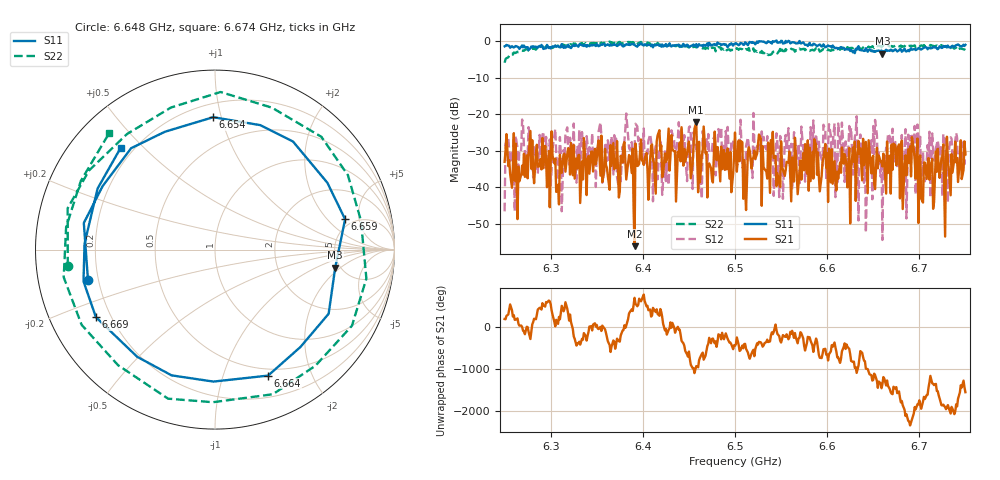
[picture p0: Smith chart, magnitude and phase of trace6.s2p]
# Hz S RI R 50
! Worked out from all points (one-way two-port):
!   401 points, 6.25 GHz to 6.75 GHz, reference 50 ohm
!   highest |S21| = -22.24 dB at 6.458 GHz (marker M1); lowest = -56.1 dB at 6.391 GHz (marker M2)
!   lowest |S11| = -3.4 dB at 6.66 GHz (marker M3), VSWR 5.20, Z = 227 - j84.6 ohm
!   |S11| at or under -10 dB: nowhere
!   |S22| runs from -5.9 to 0.0 dB; largest |S21 - S12| = 0.13
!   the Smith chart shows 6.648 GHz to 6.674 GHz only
!   S11 on the Smith chart (normalised r, x): 6.648 GHz: 0.16, -0.11; 6.654 GHz: 0.29, +0.94; 6.659 GHz: 4.28, +3.24; 6.664 GHz: 0.42, -1.42; 6.669 GHz: 0.14, -0.26; 6.674 GHz: 0.15, +0.43
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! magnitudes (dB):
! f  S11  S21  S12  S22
! 6.25 GHz  -1.4  -33.0  -46.6  -5.9
! 6.269 GHz  -1.2  -34.0  -21.4  -2.7
! 6.31 GHz  -1.7  -31.1  -26.2  -1.2
! 6.334 GHz  -1.2  -32.9  -24.9  -0.5
! 6.391 GHz  -1.0  -56.1  -29.8  -0.9
! 6.418 GHz  -1.3  -24.4  -29.0  -1.0
! 6.458 GHz  -0.8  -22.2  -29.7  -1.7
! 6.5 GHz  -0.7  -25.0  -30.8  -2.5
! 6.584 GHz  -1.2  -30.3  -30.5  -2.3
! 6.624 GHz  -2.2  -29.2  -23.2  -2.0
! 6.64 GHz  -2.7  -33.9  -38.7  -1.6
! 6.648 GHz  -2.8  -36.1  -27.1  -1.7
! 6.654 GHz  -2.6  -29.2  -25.7  -1.1
! 6.659 GHz  -2.6  -33.0  -32.7  -1.6
! 6.66 GHz  -3.4  -34.3  -54.4  -1.3
! 6.664 GHz  -2.4  -41.7  -29.1  -1.2
! 6.668 GHz  -2.6  -31.3  -26.1  -1.5
! 6.669 GHz  -2.4  -41.7  -29.1  -1.4
! 6.674 GHz  -2.2  -28.5  -27.6  -1.1
! 6.695 GHz  -2.1  -32.6  -23.2  -1.2
! 6.701 GHz  -2.2  -31.3  -26.2  -1.3
! 6.75 GHz  -1.0  -31.0  -30.1  -2.4
